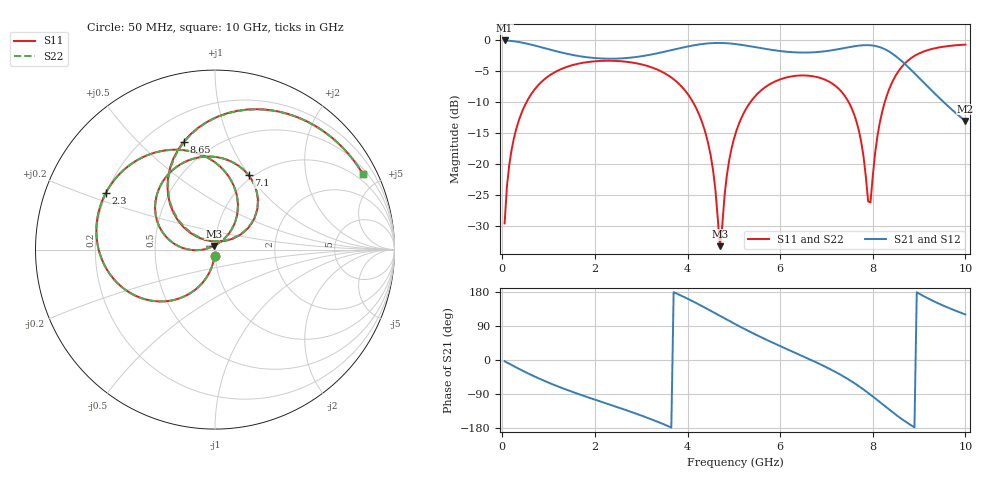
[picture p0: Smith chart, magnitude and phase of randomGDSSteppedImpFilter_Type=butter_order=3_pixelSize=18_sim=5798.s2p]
! freq	dB(S11)	phase(S11)	dB(S12)	phase(S12)
!  dB(S21)	phase(S21)	dB(S22)	phase(S22)
!S-par simulation data
#  GHz  S  DB  R 50
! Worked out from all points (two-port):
!   200 points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, 50 MHz to 10 GHz, reference 50 ohm
!   highest |S21| = -0.01 dB at 50 MHz (marker M1); lowest = -13.0 dB at 10 GHz (marker M2)
!   |S21| within 3 dB of the highest: start of sweep to 8.573 GHz
!   lowest |S11| = -33.2 dB at 4.7 GHz (marker M3), VSWR 1.04, Z = 49.3 + j2.06 ohm
!   |S11| at or under -10 dB: start of sweep to 521.1 MHz; 4.12 GHz to 5.355 GHz (1.235 GHz wide, 26.1 % of centre); 7.481 GHz to 8.258 GHz (776.9 MHz wide, 9.87 % of centre)
!   |S22| runs from -33.1 to -0.7 dB; largest |S21 - S12| = 0
!   S11 on the Smith chart (normalised r, x): 50 MHz: 0.99, -0.07; 2.3 GHz: 0.20, +0.23; 7.1 GHz: 0.95, +1.00; 8.65 GHz: 0.35, +0.69; 10 GHz: 0.68, +4.01
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0.05  -29.54 -93.6  -0.01 -3.3  -0.01 -3.3  -29.54 -93.6
0.2  -17.69 -103.6  -0.09 -13.2  -0.09 -13.2  -17.69 -103.6
0.5  -10.30 -122.5  -0.47 -32.0  -0.47 -32.0  -10.30 -122.5
1.05  -5.51 -152.9  -1.53 -62.4  -1.53 -62.4  -5.51 -152.9
1.75  -3.60 175.3  -2.64 -94.3  -2.64 -94.3  -3.60 175.3
2.3  -3.28 152.7  -2.96 -116.9  -2.96 -116.9  -3.28 152.7
3.4  -4.89 105.1  -2.00 -165.3  -2.00 -165.3  -4.89 105.1
4.35  -14.00 54.7  -0.56 139.8  -0.56 139.8  -14.00 54.8
4.55  -20.89 48.9  -0.44 126.6  -0.44 126.6  -20.89 49.1
4.7  -33.21 107.5  -0.42 116.6  -0.42 116.6  -33.11 107.6
4.85  -21.72 -178.4  -0.46 106.6  -0.46 106.6  -21.72 -178.5
5.05  -14.71 176.8  -0.60 93.4  -0.60 93.4  -14.71 176.7
5.85  -6.77 133.2  -1.57 45.1  -1.57 45.1  -6.77 133.2
6.7  -5.77 88.1  -1.93 -1.7  -1.93 -1.7  -5.77 88.2
7.1  -6.85 65.7  -1.62 -25.5  -1.62 -25.5  -6.85 65.8
7.6  -12.00 35.6  -0.95 -60.8  -0.95 -60.8  -11.99 36.1
7.95  -26.17 110.5  -0.79 -91.5  -0.79 -91.5  -25.67 109.1
8.1  -15.49 145.9  -0.98 -105.9  -0.98 -105.9  -15.44 144.7
8.35  -7.95 130.8  -1.79 -130.4  -1.79 -130.4  -7.94 130.2
8.65  -4.07 106.2  -3.51 -157.8  -3.51 -157.8  -4.07 105.8
9.2  -1.54 67.9  -7.55 162.1  -7.55 162.1  -1.54 67.6
10  -0.68 27.3  -13.01 120.2  -13.01 120.2  -0.68 27.1
